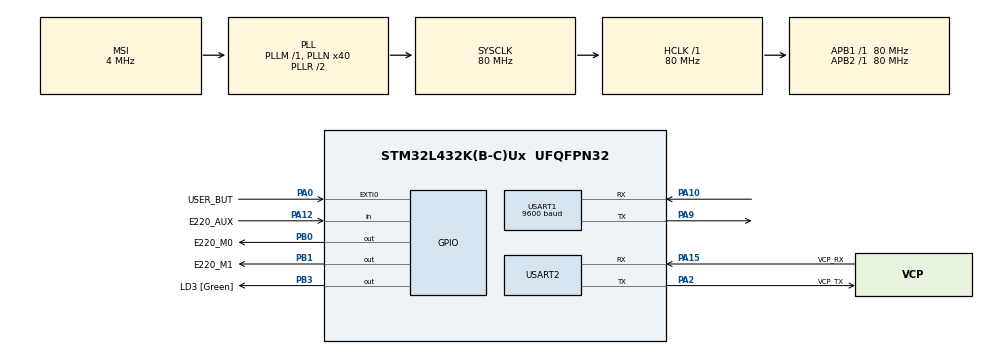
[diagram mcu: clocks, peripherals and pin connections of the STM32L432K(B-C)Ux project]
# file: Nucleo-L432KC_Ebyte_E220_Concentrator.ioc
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Mcu.Family=STM32L4
Mcu.Name=STM32L432K(B-C)Ux
Mcu.Package=UFQFPN32
NVIC.EXTI0_IRQn=true\:0\:0\:false\:false\:true\:true\:true\:true
NVIC.PriorityGroup=NVIC_PRIORITYGROUP_4
PA0.GPIO_Label=USER_BUT
PA0.GPIO_ModeDefaultEXTI=GPIO_MODE_IT_FALLING
PA0.GPIO_PuPd=GPIO_PULLUP
PA0.Signal=GPXTI0
PA10.Mode=Asynchronous
PA10.Signal=USART1_RX
PA12.GPIO_Label=E220_AUX
PA12.GPIO_PuPd=GPIO_PULLUP
PA12.Signal=GPIO_Input
PA13\ (JTMS-SWDIO).GPIO_Label=SWDIO
PA13\ (JTMS-SWDIO).Mode=Serial_Wire
PA13\ (JTMS-SWDIO).Signal=SYS_JTMS-SWDIO
PA14\ (JTCK-SWCLK).GPIO_Label=SWCLK
PA14\ (JTCK-SWCLK).Mode=Serial_Wire
PA14\ (JTCK-SWCLK).Signal=SYS_JTCK-SWCLK
PA15\ (JTDI).GPIO_Label=VCP_RX
PA15\ (JTDI).Mode=Asynchronous
PA15\ (JTDI).Signal=USART2_RX
PA2.GPIO_Label=VCP_TX
PA2.Mode=Asynchronous
PA2.Signal=USART2_TX
PA9.Mode=Asynchronous
PA9.Signal=USART1_TX
PB0.GPIO_Label=E220_M0
PB0.GPIO_Speed=GPIO_SPEED_FREQ_VERY_HIGH
PB0.Signal=GPIO_Output
PB1.GPIO_Label=E220_M1
PB1.GPIO_Speed=GPIO_SPEED_FREQ_VERY_HIGH
PB1.Signal=GPIO_Output
PB3\ (JTDO-TRACESWO).GPIO_Label=LD3 [Green]
PB3\ (JTDO-TRACESWO).Signal=GPIO_Output
PC14-OSC32_IN\ (PC14).Mode=LSE-External-Oscillator
PC14-OSC32_IN\ (PC14).Signal=RCC_OSC32_IN
PC15-OSC32_OUT\ (PC15).Mode=LSE-External-Oscillator
PC15-OSC32_OUT\ (PC15).Signal=RCC_OSC32_OUT
ProjectManager.HeapSize=0x200
ProjectManager.StackSize=0x400
ProjectManager.TargetToolchain=STM32CubeIDE
RCC.AHBFreq_Value=80000000
RCC.APB1Freq_Value=80000000
RCC.APB1TimFreq_Value=80000000
RCC.APB2Freq_Value=80000000
RCC.APB2TimFreq_Value=80000000
RCC.CortexFreq_Value=80000000
RCC.HCLKFreq_Value=80000000
RCC.HSE_VALUE=8000000
RCC.HSI16_VALUE=16000000
RCC.HSI48_VALUE=48000000
RCC.HSI_VALUE=16000000
RCC.MSI_VALUE=4000000
RCC.PLLMUL=RCC_PLLMUL_4
RCC.PLLN=40
RCC.SYSCLKFreq_VALUE=80000000
RCC.SYSCLKSource=RCC_SYSCLKSOURCE_PLLCLK
RCC.VCOOutputFreq_Value=160000000
USART1.BaudRate=9600
USART1.VirtualMode-Asynchronous=VM_ASYNC
USART2.VirtualMode-Asynchronous=VM_ASYNC
board=NUCLEO-L432KC

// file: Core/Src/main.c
/* USER CODE BEGIN Header */
/**
  ******************************************************************************
  * @file           : main.c
  * @brief          : Main program body
  ******************************************************************************
  * @attention
  *
  * Copyright (c) 2023 STMicroelectronics.
  * All rights reserved.
  *
  * This software is licensed under terms that can be found in the LICENSE file
  * in the root directory of this software component.
  * If no LICENSE file comes with this software, it is provided AS-IS.
  *
  ******************************************************************************
  */
/* USER CODE END Header */
#include "main.h"

/* USER CODE BEGIN Includes */
#include <stdio.h>
#include <string.h>
#include <stdbool.h>
#include "e220_900t22d.h"

/* USER CODE END Includes */

/* USER CODE BEGIN PD */
#define E220_RF_BUFFER_SIZE 8U
/* USER CODE END PD */

UART_HandleTypeDef huart1;
UART_HandleTypeDef huart2;

/* USER CODE BEGIN PV */
uint8_t E220_tx_Buffer[E220_RF_BUFFER_SIZE] = {0xA5, 0x09, 0x0A, 0x0B, 0x0C, 0x0D, 0x0E, 0x0F};
uint8_t E220_rx_Buffer[E220_RF_BUFFER_SIZE];

uint8_t step = 0;
bool butPressed = false;
/* USER CODE END PV */

void SystemClock_Config(void);
static void MX_GPIO_Init(void);
static void MX_USART2_UART_Init(void);
static void MX_USART1_UART_Init(void);
/* USER CODE BEGIN PFP */
#if __GNUC__
#define PUTCHAR_PROTOTYPE int __io_putchar(int ch)
#else
#define PUTCHAR_PROTOTYPE int fputc(int ch, FILE *f)
#endif // End __GNUC__

/* USER CODE END PFP */

int main(void)
{

  /* MCU Configuration--------------------------------------------------------*/

  /* Reset of all peripherals, Initializes the Flash interface and the Systick. */
  HAL_Init();

  /* Configure the system clock */
  SystemClock_Config();

  /* Initialize all configured peripherals */
  MX_GPIO_Init();
  MX_USART2_UART_Init();
  MX_USART1_UART_Init();
  /* USER CODE BEGIN 2 */

  if (E220_Module_Init() != E220_OK)
  {
    printf("\r\nE220 Initialization Fail\r\n");
  }
  else
    printf("\r\nE220 Initialization Success\r\n");

  /**> Initialize the Rx Buffer */
  memset(E220_rx_Buffer, 0x00, sizeof(E220_rx_Buffer));

  /* USER CODE END 2 */

  /* Infinite loop */
  /* USER CODE BEGIN WHILE */
  while (1)
  {
    if (E220_Wait_Packet_Send() == E220_OK)
    {
      if (E220_Receive_Packet(E220_rx_Buffer, E220_RF_BUFFER_SIZE)  == E220_OK)
      {
        printf("Received packet: \r\n");
        for (uint32_t i = 0; i < E220_RF_BUFFER_SIZE; i++)
        {
          printf("0x%X ", E220_rx_Buffer[i]);
        }
        printf("\r\n");
        HAL_GPIO_TogglePin(LD3_GPIO_Port, LD3_Pin);
      }
    }

    /* USER CODE END WHILE */

  }
}

void SystemClock_Config(void)
{
  RCC_OscInitTypeDef RCC_OscInitStruct = {0};
  RCC_ClkInitTypeDef RCC_ClkInitStruct = {0};

  /** Configure the main internal regulator output voltage
  */
  if (HAL_PWREx_ControlVoltageScaling(PWR_REGULATOR_VOLTAGE_SCALE1) != HAL_OK)
  {
    Error_Handler();
  }

  /** Configure LSE Drive Capability
  */
  HAL_PWR_EnableBkUpAccess();
  __HAL_RCC_LSEDRIVE_CONFIG(RCC_LSEDRIVE_LOW);

  /** Initializes the RCC Oscillators according to the specified parameters
  * in the RCC_OscInitTypeDef structure.
  */
  RCC_OscInitStruct.OscillatorType = RCC_OSCILLATORTYPE_LSE|RCC_OSCILLATORTYPE_MSI;
  RCC_OscInitStruct.LSEState = RCC_LSE_ON;
  RCC_OscInitStruct.MSIState = RCC_MSI_ON;
  RCC_OscInitStruct.MSICalibrationValue = 0;
  RCC_OscInitStruct.MSIClockRange = RCC_MSIRANGE_6;
  RCC_OscInitStruct.PLL.PLLState = RCC_PLL_ON;
  RCC_OscInitStruct.PLL.PLLSource = RCC_PLLSOURCE_MSI;
  RCC_OscInitStruct.PLL.PLLM = 1;
  RCC_OscInitStruct.PLL.PLLN = 40;
  RCC_OscInitStruct.PLL.PLLP = RCC_PLLP_DIV7;
  RCC_OscInitStruct.PLL.PLLQ = RCC_PLLQ_DIV2;
  RCC_OscInitStruct.PLL.PLLR = RCC_PLLR_DIV2;
  if (HAL_RCC_OscConfig(&RCC_OscInitStruct) != HAL_OK)
  {
    Error_Handler();
  }

  /** Initializes the CPU, AHB and APB buses clocks
  */
  RCC_ClkInitStruct.ClockType = RCC_CLOCKTYPE_HCLK|RCC_CLOCKTYPE_SYSCLK
                              |RCC_CLOCKTYPE_PCLK1|RCC_CLOCKTYPE_PCLK2;
  RCC_ClkInitStruct.SYSCLKSource = RCC_SYSCLKSOURCE_PLLCLK;
  RCC_ClkInitStruct.AHBCLKDivider = RCC_SYSCLK_DIV1;
  RCC_ClkInitStruct.APB1CLKDivider = RCC_HCLK_DIV1;
  RCC_ClkInitStruct.APB2CLKDivider = RCC_HCLK_DIV1;

  if (HAL_RCC_ClockConfig(&RCC_ClkInitStruct, FLASH_LATENCY_4) != HAL_OK)
  {
    Error_Handler();
  }

  /** Enable MSI Auto calibration
  */
  HAL_RCCEx_EnableMSIPLLMode();
}

static void MX_USART1_UART_Init(void)
{

  huart1.Instance = USART1;
  huart1.Init.BaudRate = 9600;
  huart1.Init.WordLength = UART_WORDLENGTH_8B;
  huart1.Init.StopBits = UART_STOPBITS_1;
  huart1.Init.Parity = UART_PARITY_NONE;
  huart1.Init.Mode = UART_MODE_TX_RX;
  huart1.Init.HwFlowCtl = UART_HWCONTROL_NONE;
  huart1.Init.OverSampling = UART_OVERSAMPLING_16;
  huart1.Init.OneBitSampling = UART_ONE_BIT_SAMPLE_DISABLE;
  huart1.AdvancedInit.AdvFeatureInit = UART_ADVFEATURE_NO_INIT;
  if (HAL_UART_Init(&huart1) != HAL_OK)
  {
    Error_Handler();
  }

}

static void MX_USART2_UART_Init(void)
{

  huart2.Instance = USART2;
  huart2.Init.BaudRate = 115200;
  huart2.Init.WordLength = UART_WORDLENGTH_8B;
  huart2.Init.StopBits = UART_STOPBITS_1;
  huart2.Init.Parity = UART_PARITY_NONE;
  huart2.Init.Mode = UART_MODE_TX_RX;
  huart2.Init.HwFlowCtl = UART_HWCONTROL_NONE;
  huart2.Init.OverSampling = UART_OVERSAMPLING_16;
  huart2.Init.OneBitSampling = UART_ONE_BIT_SAMPLE_DISABLE;
  huart2.AdvancedInit.AdvFeatureInit = UART_ADVFEATURE_NO_INIT;
  if (HAL_UART_Init(&huart2) != HAL_OK)
  {
    Error_Handler();
  }

}

static void MX_GPIO_Init(void)
{
  GPIO_InitTypeDef GPIO_InitStruct = {0};

  /* GPIO Ports Clock Enable */
  __HAL_RCC_GPIOC_CLK_ENABLE();
  __HAL_RCC_GPIOA_CLK_ENABLE();
  __HAL_RCC_GPIOB_CLK_ENABLE();

  /*Configure GPIO pin Output Level */
  HAL_GPIO_WritePin(GPIOB, E220_M0_Pin|E220_M1_Pin|LD3_Pin, GPIO_PIN_RESET);

  /*Configure GPIO pin : USER_BUT_Pin */
  GPIO_InitStruct.Pin = USER_BUT_Pin;
  GPIO_InitStruct.Mode = GPIO_MODE_IT_FALLING;
  GPIO_InitStruct.Pull = GPIO_PULLUP;
  HAL_GPIO_Init(USER_BUT_GPIO_Port, &GPIO_InitStruct);

  /*Configure GPIO pins : E220_M0_Pin E220_M1_Pin */
  GPIO_InitStruct.Pin = E220_M0_Pin|E220_M1_Pin;
  GPIO_InitStruct.Mode = GPIO_MODE_OUTPUT_PP;
  GPIO_InitStruct.Pull = GPIO_NOPULL;
  GPIO_InitStruct.Speed = GPIO_SPEED_FREQ_VERY_HIGH;
  HAL_GPIO_Init(GPIOB, &GPIO_InitStruct);

  /*Configure GPIO pin : E220_AUX_Pin */
  GPIO_InitStruct.Pin = E220_AUX_Pin;
  GPIO_InitStruct.Mode = GPIO_MODE_INPUT;
  GPIO_InitStruct.Pull = GPIO_PULLUP;
  HAL_GPIO_Init(E220_AUX_GPIO_Port, &GPIO_InitStruct);

  /*Configure GPIO pin : LD3_Pin */
  GPIO_InitStruct.Pin = LD3_Pin;
  GPIO_InitStruct.Mode = GPIO_MODE_OUTPUT_PP;
  GPIO_InitStruct.Pull = GPIO_NOPULL;
  GPIO_InitStruct.Speed = GPIO_SPEED_FREQ_LOW;
  HAL_GPIO_Init(LD3_GPIO_Port, &GPIO_InitStruct);

  /* EXTI interrupt init*/
  HAL_NVIC_SetPriority(EXTI0_IRQn, 0, 0);
  HAL_NVIC_EnableIRQ(EXTI0_IRQn);

}

/* USER CODE BEGIN 4 */
/**
  * @brief  Putchar function redirect printf over USART1
  * @param  Ascii char to print
  * @retval None
  */
PUTCHAR_PROTOTYPE
{
  HAL_UART_Transmit(&huart2, (uint8_t *)&ch, 1, HAL_MAX_DELAY);
  return ch;
}

/**
  * @brief  EXTI line detection callback.
  * @param  GPIO_Pin Specifies the port pin connected to corresponding EXTI line.
  * @retval None
  */
void HAL_GPIO_EXTI_Callback(uint16_t GPIO_Pin)
{
 if (GPIO_Pin == USER_BUT_Pin)
 {
   butPressed = !butPressed;
 }
}

/* USER CODE END 4 */

void Error_Handler(void)
{
  __disable_irq();
  while (1)
  {
  }
}
